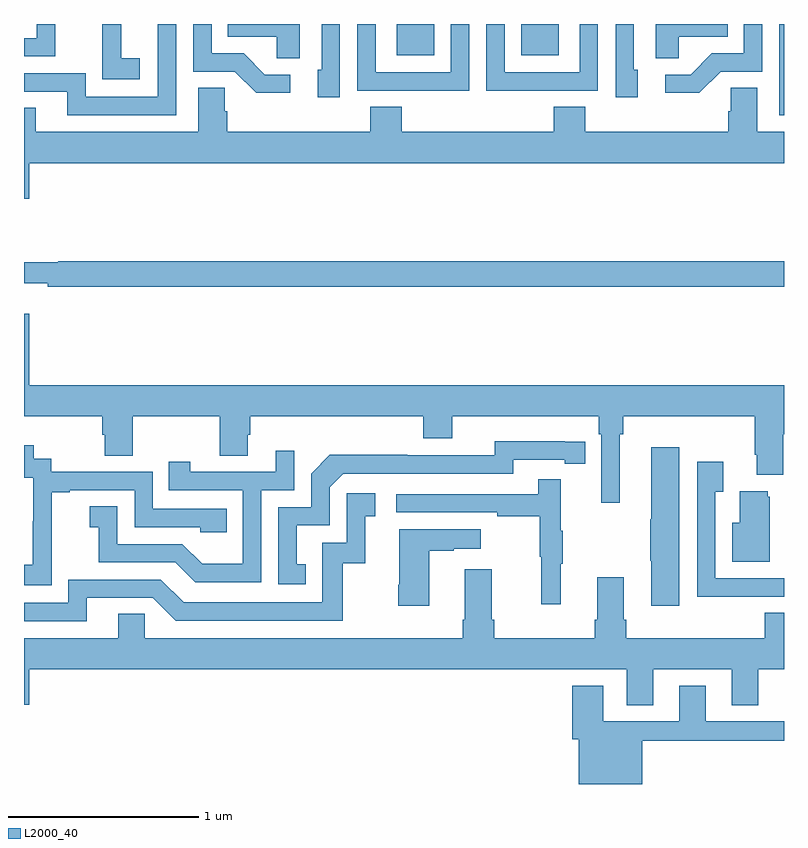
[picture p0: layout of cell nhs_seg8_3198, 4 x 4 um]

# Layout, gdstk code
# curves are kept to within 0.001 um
import gdstk
lib = gdstk.Library(unit=1e-6, precision=1e-09)
def R(c, l, rs):  # rectangles x0, y0, x1, y1
    for r in rs: c.add(gdstk.rectangle(r[:2], r[2:], *l))
def P(c, l, *ps):  # polygons
    for p in ps: c.add(gdstk.Polygon(p, *l))
L2000_40 = (2000, 40)

nhs_seg8_3198 = lib.new_cell('nhs_seg8_3198')
R(nhs_seg8_3198, L2000_40, [(312.975,1115.421,313,1115.9), (310.961,1115.735,311.158,1115.9), (311.618,1115.735,311.815,1115.9)])
P(nhs_seg8_3198, L2000_40, [(311.705,1115.55),(312.021,1115.55),(312.021,1115.9),(311.925,1115.9),(311.925,1115.646),(311.529,1115.646),(311.529,1115.9),(311.433,1115.9),(311.433,1115.549),(311.705,1115.549)],
  [(311.343,1115.9),(311.247,1115.9),(311.247,1115.646),(310.851,1115.646),(310.851,1115.9),(310.755,1115.9),(310.755,1115.55),(311.071,1115.55),(311.071,1115.549),(311.343,1115.549)],
  [(309.61,1115.719),(309.512,1115.719),(309.512,1115.9),(309.413,1115.9),(309.413,1115.815),(309.412,1115.815),(309.412,1115.609),(309.61,1115.609)],
  [(310.45,1115.9),(310.072,1115.9),(310.072,1115.834),(310.329,1115.834),(310.329,1115.719),(310.45,1115.719)],
  [(312.447,1115.834),(312.704,1115.834),(312.704,1115.9),(312.326,1115.9),(312.326,1115.719),(312.447,1115.719)],
  [(309.165,1115.9),(309.066,1115.9),(309.066,1115.826),(309,1115.826),(309,1115.73),(309.165,1115.73)],
  [(312.666,1115.649),(312.885,1115.649),(312.885,1115.9),(312.789,1115.9),(312.789,1115.745),(312.62,1115.745),(312.509,1115.634),(312.375,1115.634),(312.375,1115.537),(312.553,1115.537)],
  [(312.229,1115.658),(312.21,1115.658),(312.21,1115.9),(312.114,1115.9),(312.114,1115.514),(312.229,1115.514)],
  [(309.801,1115.9),(309.705,1115.9),(309.705,1115.517),(309.324,1115.517),(309.324,1115.64),(309,1115.64),(309,1115.544),(309.227,1115.544),(309.227,1115.421),(309.801,1115.421)],
  [(310.662,1115.9),(310.566,1115.9),(310.566,1115.658),(310.547,1115.658),(310.547,1115.514),(310.662,1115.514)],
  [(310.402,1115.634),(310.267,1115.634),(310.156,1115.745),(309.987,1115.745),(309.987,1115.9),(309.891,1115.9),(309.891,1115.649),(310.11,1115.649),(310.223,1115.537),(310.402,1115.537)],
  [(313,1115.332),(312.859,1115.332),(312.859,1115.564),(312.72,1115.564),(312.72,1115.441),(312.707,1115.441),(312.707,1115.332),(311.954,1115.332),(311.954,1115.465),(311.789,1115.465),(311.789,1115.332),(310.988,1115.332),(310.988,1115.465),(310.823,1115.465),(310.823,1115.332),(310.07,1115.332),(310.07,1115.441),(310.056,1115.441),(310.056,1115.564),(309.917,1115.564),(309.917,1115.332),(309.061,1115.332),(309.061,1115.459),(309,1115.459),(309,1114.98),(309.028,1114.98),(309.028,1115.168),(313,1115.168)],
  [(313,1114.652),(309.179,1114.652),(309.179,1114.645),(309,1114.645),(309,1114.535),(309.124,1114.535),(309.124,1114.516),(313,1114.516)],
  [(309.028,1114.375),(309,1114.375),(309,1113.836),(309.413,1113.836),(309.413,1113.738),(309.425,1113.738),(309.425,1113.628),(309.573,1113.628),(309.573,1113.836),(310.03,1113.836),(310.03,1113.628),(310.177,1113.628),(310.177,1113.738),(310.19,1113.738),(310.19,1113.836),(311.102,1113.836),(311.102,1113.719),(311.254,1113.719),(311.254,1113.836),(312.026,1113.836),(312.026,1113.74),(312.039,1113.74),(312.039,1113.381),(312.136,1113.381),(312.136,1113.74),(312.155,1113.74),(312.155,1113.836),(312.845,1113.836),(312.845,1113.634),(312.857,1113.634),(312.857,1113.527),(312.997,1113.527),(312.997,1113.74),(313,1113.74),(313,1114),(309.028,1114)],
  [(310.484,1113.057),(310.435,1113.057),(310.435,1113.261),(310.608,1113.261),(310.608,1113.462),(310.68,1113.534),(311.574,1113.534),(311.574,1113.606),(311.846,1113.606),(311.846,1113.586),(311.954,1113.586),(311.954,1113.702),(311.478,1113.703),(311.478,1113.63),(311.018,1113.63),(311.018,1113.632),(310.61,1113.632),(310.512,1113.534),(310.512,1113.357),(310.338,1113.357),(310.338,1112.952),(310.484,1112.952)],
  [(309.147,1113.151),(309.146,1113.151),(309.146,1113.435),(309.241,1113.435),(309.241,1113.447),(309.582,1113.447),(309.582,1113.252),(309.927,1113.252),(309.927,1113.225),(310.067,1113.225),(310.067,1113.348),(309.678,1113.348),(309.678,1113.543),(309.144,1113.543),(309.144,1113.612),(309.052,1113.612),(309.052,1113.682),(309,1113.682),(309,1113.513),(309.048,1113.513),(309.048,1113.284),(309.047,1113.284),(309.047,1113.055),(309,1113.055),(309,1112.945),(309.147,1112.945)],
  [(312.448,1113.673),(312.302,1113.673),(312.302,1113.293),(312.295,1113.293),(312.295,1113.076),(312.302,1113.076),(312.302,1112.838),(312.448,1112.838)],
  [(310.248,1113.447),(310.422,1113.447),(310.422,1113.655),(310.325,1113.655),(310.325,1113.543),(309.874,1113.543),(309.874,1113.595),(309.763,1113.595),(309.763,1113.447),(310.152,1113.447),(310.152,1113.058),(309.938,1113.058),(309.834,1113.162),(309.492,1113.162),(309.492,1113.361),(309.345,1113.361),(309.345,1113.251),(309.394,1113.251),(309.394,1113.066),(309.797,1113.066),(309.902,1112.961),(310.248,1112.961)],
  [(312.815,1112.886),(313,1112.886),(313,1112.982),(312.639,1112.982),(312.639,1113.439),(312.679,1113.439),(312.679,1113.595),(312.543,1113.595),(312.543,1112.885),(312.815,1112.885)],
  [(311.825,1113.059),(311.836,1113.059),(311.836,1113.233),(311.825,1113.233),(311.825,1113.505),(311.707,1113.505),(311.707,1113.426),(310.959,1113.426),(310.959,1113.33),(311.491,1113.33),(311.491,1113.31),(311.715,1113.31),(311.715,1113.096),(311.722,1113.096),(311.722,1112.847),(311.825,1112.847)],
  [(312.925,1113.411),(312.914,1113.411),(312.914,1113.442),(312.767,1113.442),(312.767,1113.274),(312.728,1113.274),(312.728,1113.071),(312.925,1113.071)],
  [(309.331,1112.88),(309.678,1112.88),(309.798,1112.76),(310.678,1112.76),(310.678,1113.063),(310.796,1113.063),(310.796,1113.309),(310.849,1113.309),(310.849,1113.43),(310.698,1113.43),(310.698,1113.171),(310.569,1113.171),(310.569,1112.856),(309.84,1112.856),(309.72,1112.976),(309.234,1112.976),(309.234,1112.853),(309,1112.853),(309,1112.757),(309.331,1112.757)],
  [(311.134,1113.127),(311.261,1113.127),(311.261,1113.137),(311.404,1113.137),(311.404,1113.241),(310.976,1113.241),(310.976,1112.95),(310.969,1112.95),(310.969,1112.838),(311.134,1112.838)],
  [(312.313,1112.504),(312.725,1112.504),(312.725,1112.314),(312.865,1112.314),(312.865,1112.504),(313,1112.504),(313,1112.801),(312.899,1112.801),(312.899,1112.668),(312.17,1112.668),(312.17,1112.764),(312.157,1112.764),(312.157,1112.989),(312.017,1112.989),(312.017,1112.764),(312.005,1112.764),(312.005,1112.668),(311.474,1112.668),(311.474,1112.764),(311.461,1112.764),(311.461,1113.031),(311.321,1113.031),(311.321,1112.764),(311.309,1112.764),(311.309,1112.668),(309.636,1112.668),(309.636,1112.795),(309.497,1112.795),(309.497,1112.668),(309,1112.668),(309,1112.316),(309.028,1112.316),(309.028,1112.504),(312.173,1112.504),(312.173,1112.314),(312.313,1112.314)],
  [(312.253,1112.128),(313,1112.128),(313,1112.229),(312.589,1112.229),(312.589,1112.416),(312.449,1112.416),(312.449,1112.229),(312.049,1112.229),(312.049,1112.416),(311.885,1112.416),(311.885,1112.136),(311.921,1112.136),(311.921,1111.9),(312.253,1111.9)])

lib.write_gds('nhs_seg8_3198.gds')
